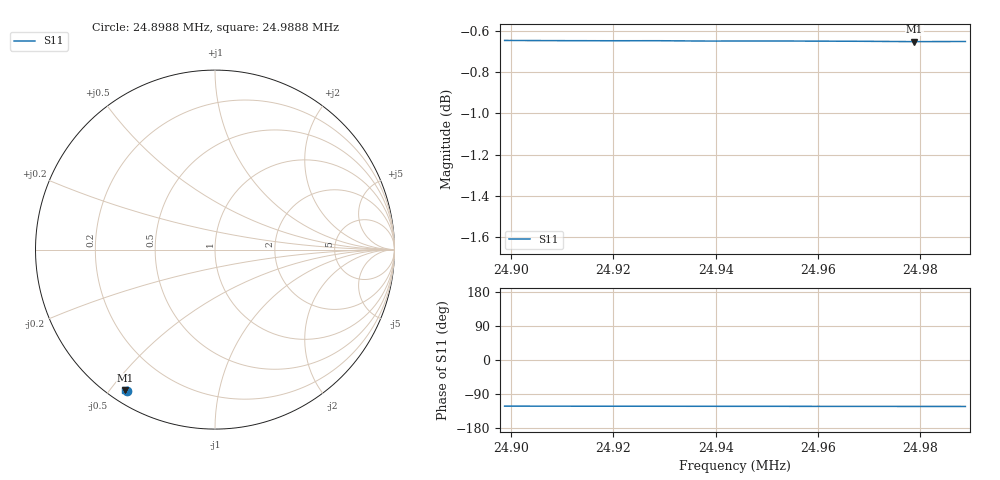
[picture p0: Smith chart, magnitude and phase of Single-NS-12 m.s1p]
# HZ S RI R 50
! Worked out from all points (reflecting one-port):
!   10 points, 24.8988 MHz to 24.9888 MHz, reference 50 ohm
!   lowest |S11| = -0.7 dB at 24.9788 MHz (marker M1), VSWR 26.70, Z = 2.43 - j27.4 ohm
!   phase of S11 starts at -122 deg and turns -1 deg over the sweep
2.489876e7  -0.4892 -0.7891
2.490876e7  -0.4903 -0.7883
2.491876e7  -0.4916 -0.7874
2.492877e7  -0.4928 -0.7867
2.493877e7  -0.4939 -0.7857
2.494878e7  -0.4953 -0.785
2.495878e7  -0.4965 -0.7841
2.496878e7  -0.4977 -0.7832
2.497879e7  -0.4989 -0.7823
2.498879e7  -0.5003 -0.7815
